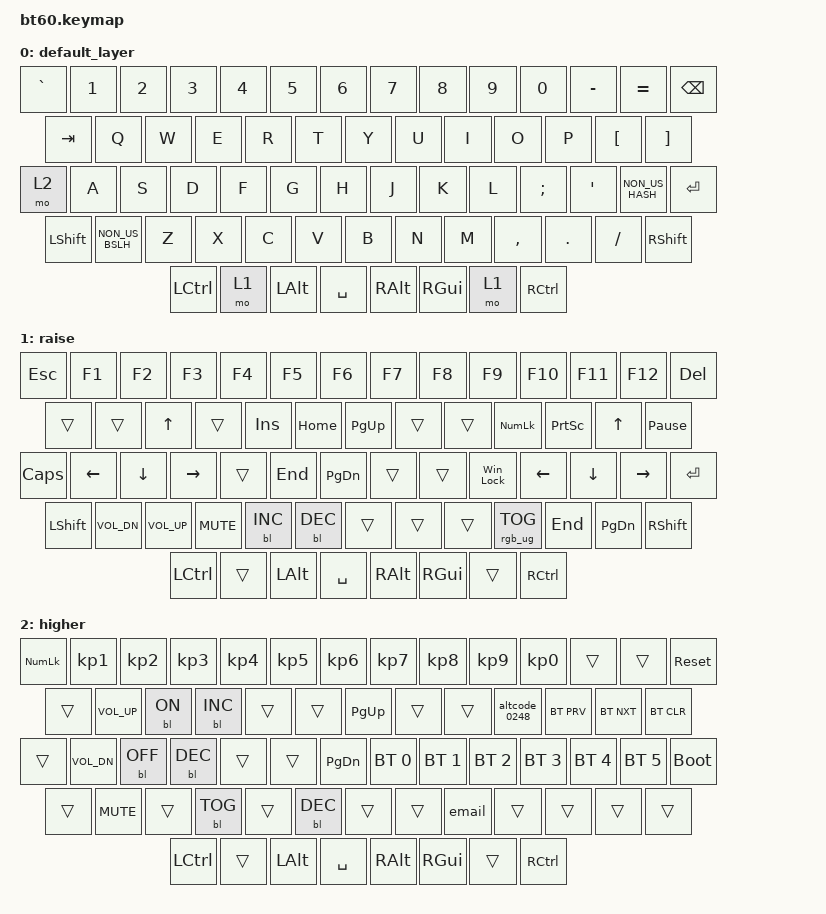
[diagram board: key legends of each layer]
#include <behaviors.dtsi>
#include <dt-bindings/zmk/keys.h>
#include <dt-bindings/zmk/bt.h>
#include <dt-bindings/zmk/rgb.h>
#include <dt-bindings/zmk/backlight.h>

/ {
	macros {
		alt_o_0248: alt_o_0248 {
		    label = "ZM_alt_o_0248";
		    compatible = "zmk,behavior-macro";
		    #binding-cells = <0>;
		    bindings 
			= <&macro_press &kp LALT>
			, <&macro_tap &kp KP_N0 &kp KP_N2 &kp KP_N4 &kp KP_N8>
			, <&macro_release &kp LALT>
			;
		};
		altcode_0248: altcode_0248 {
		    compatible = "zmk,behavior-altcode-0248";
		    #binding-cells = <0>;
		};
		email: email {
		    label = "email";
		    compatible = "zmk,behavior-macro";
		    #binding-cells = <0>;
		    bindings 
			=  <&macro_tap &kp A &kp L &kp E &kp X &kp K &kp I &kp C &kp K &kp E &kp R>
			, <&macro_press &kp RALT>
			, <&macro_tap &kp N2>
			, <&macro_release &kp RALT>
			, <&macro_tap &kp H &kp O &kp T &kp M &kp A &kp I &kp L &kp DOT &kp C &kp O &kp M>
			;
		};
		CAPSLIGHT: CAPSLIGHT {
		    label = "ZM_CAPSLIGHT";
		    compatible = "zmk,behavior-macro";
		    #binding-cells = <0>;
		    bindings 
			= <&macro_tap &kp CAPS>
			, <&macro_tap &rgb_ug RGB_COLOR_HSB(0, 100, 50)>
			, <&macro_tap &rgb_ug RGB_TOG>
			;
		};
		Win_Lock: Win_Lock {
		    label = "ZM_winlock";
		    compatible = "zmk,behavior-macro";
		    #binding-cells = <0>;
		    bindings 
			= <&macro_press &kp RGUI>
			, <&macro_tap &kp L>
			, <&macro_release &kp RGUI>
			;
		};
	};
	    
	keymap {
		compatible = "zmk,keymap";

		default_layer {
				// ------------------------------------------------------------------------------------------
				// |  `  |  1  |  2  |  3  |  4  |  5  |  6  |  7  |  8  |  9  |  0  |  -  |  =  |   BKSP
				// | TAB  |  Q  |  W  |  E  |  R  |  T  |  Y  |  U  |  I  |  O  |  P  |  [  |  ]  |        |
				// | CAPS  |  A  |  S  |  D  |  F  |  G  |  H  |  J  |  K  |  L  |  ;  |  '  |  #  | ENTER |
				// |  SHIFT|  \ |  Z  |  X  |  C  |  V  |  B  |  N  |  M  |  ,  |  .  | /   |    SHIFT    |
				// |  CTL  |  WIN  |  ALT  |            SPACE               | ALT | 1    |  MENU    |  CTRL|
				// ------------------------------------------------------------------------------------------
			bindings = <

				&kp GRAVE &kp N1 &kp N2 &kp N3 &kp N4 &kp N5 &kp N6 &kp N7 &kp  N8   &kp  N9 &kp  N0  &kp MINUS &kp EQUAL &kp BSPC
				&kp TAB  &kp Q  &kp W  &kp E  &kp R  &kp T  &kp Y  &kp U  &kp  I    &kp  O  &kp  P   &kp LBKT &kp RBKT
				&mo 2  &kp A  &kp S  &kp D  &kp F  &kp G  &kp H  &kp J  &kp  K    &kp  L  &kp SEMI &kp SQT &kp NON_US_HASH  &kp RET
				&kp LSHFT &kp NON_US_BSLH &kp Z  &kp X  &kp C  &kp V  &kp B  &kp N  &kp M  &kp COMMA &kp DOT &kp FSLH         &kp RSHFT
				&kp LCTRL &mo 1 &kp LALT            &kp SPACE                          &kp RALT  &kp RGUI &mo 1 &kp RCTRL
			>;
			//sensor-bindings = <&inc_dec_kp C_VOL_UP C_VOL_DN>;
		};
		raise {
			bindings = <
				&kp ESC &kp F1 &kp F2 &kp F3 &kp F4 &kp F5 &kp F6 &kp F7 &kp F8 &kp F9 &kp F10 &kp F11 &kp F12 &kp DEL
				&trans &trans &kp UP &trans &kp INS &kp HOME &kp PG_UP &trans &trans &kp KP_NUMLOCK &kp PSCRN &kp UP &kp PAUSE_BREAK
				&kp CAPS    &kp LEFT &kp DOWN &kp RIGHT &trans &kp END &kp PG_DN &trans &trans &Win_Lock &kp LEFT  &kp DOWN &kp RIGHT  &kp RET
				&kp LSHFT &kp C_VOL_DN &kp C_VOL_UP &kp C_MUTE &bl BL_INC &bl BL_DEC &trans &trans &trans &rgb_ug RGB_TOG &kp END &kp PG_DN  &kp RSHFT
				&kp LCTRL &trans &kp LALT            &kp SPACE                          &kp RALT  &kp RGUI &trans &kp RCTRL
			>;
			//sensor-bindings = <&inc_dec_kp C_VOL_UP C_VOL_DN>;
		};
		higher {
			bindings = <
				&kp KP_NUM &kp KP_N1 &kp KP_N2 &kp KP_N3 &kp KP_N4 &kp KP_N5 &kp KP_N6 &kp KP_N7 &kp KP_N8 &kp KP_N9 &kp KP_N0 &trans &trans &sys_reset
				&trans &kp C_VOL_UP &bl BL_ON  &bl BL_INC &trans &trans &kp PG_UP &trans &trans &altcode_0248 &bt BT_PRV &bt BT_NXT &bt BT_CLR
				&trans    &kp C_VOL_DN &bl BL_OFF &bl BL_DEC &trans &trans &kp PG_DN &bt BT_SEL 0 &bt BT_SEL 1 &bt BT_SEL 2 &bt BT_SEL 3  &bt BT_SEL 4 &bt BT_SEL 5  &bootloader
				&trans &kp C_MUTE &trans &bl BL_TOG &trans &bl BL_DEC &trans &trans &email &trans &trans &trans  &trans
				&kp LCTRL &trans &kp LALT            &kp SPACE                          &kp RALT  &kp RGUI &trans &kp RCTRL
			>;
		};
	};
};
